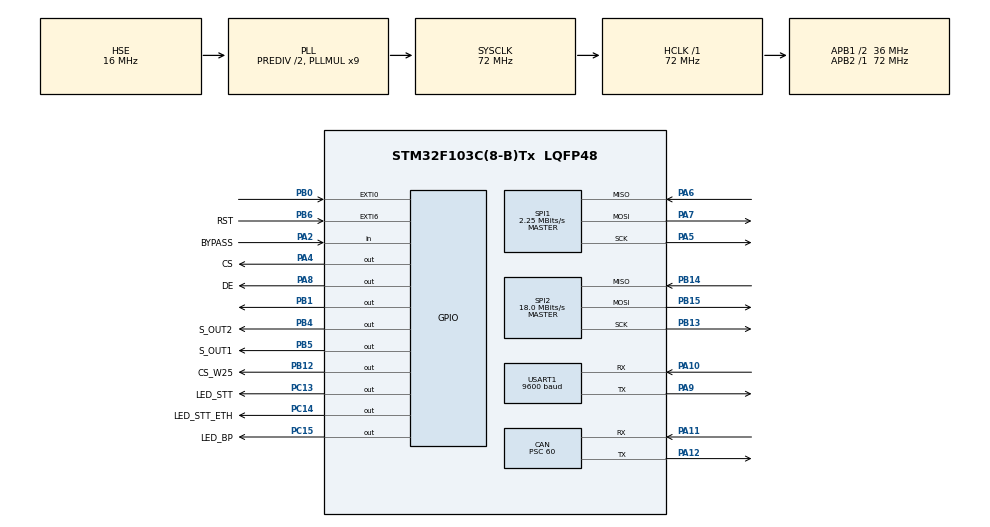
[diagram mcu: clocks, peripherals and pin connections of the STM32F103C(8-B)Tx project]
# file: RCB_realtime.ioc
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CAN.ABOM=ENABLE
CAN.BS1=CAN_BS1_16TQ
CAN.BS2=CAN_BS2_7TQ
CAN.CalculateBaudRate=25000
CAN.CalculateTimeBit=40000
CAN.CalculateTimeQuantum=1666.6666666666667
CAN.Prescaler=60
Dma.Request0=USART1_RX
Dma.USART1_RX.0.Direction=DMA_PERIPH_TO_MEMORY
Dma.USART1_RX.0.Instance=DMA1_Channel5
Dma.USART1_RX.0.MemDataAlignment=DMA_MDATAALIGN_BYTE
Dma.USART1_RX.0.MemInc=DMA_MINC_ENABLE
Dma.USART1_RX.0.Mode=DMA_NORMAL
Dma.USART1_RX.0.PeriphDataAlignment=DMA_PDATAALIGN_BYTE
Dma.USART1_RX.0.PeriphInc=DMA_PINC_DISABLE
Dma.USART1_RX.0.Priority=DMA_PRIORITY_LOW
IWDG.Prescaler=IWDG_PRESCALER_64
IWDG.Reload=1874
Mcu.Family=STM32F1
Mcu.Name=STM32F103C(8-B)Tx
Mcu.Package=LQFP48
NVIC.DMA1_Channel5_IRQn=true\:0\:0\:false\:false\:true\:false\:true\:true
NVIC.EXTI0_IRQn=true\:1\:0\:true\:false\:true\:true\:true\:true
NVIC.EXTI9_5_IRQn=true\:7\:0\:true\:false\:true\:true\:true\:true
NVIC.PriorityGroup=NVIC_PRIORITYGROUP_4
NVIC.TIM2_IRQn=true\:4\:0\:true\:false\:true\:true\:true\:true
NVIC.TIM3_IRQn=true\:5\:0\:true\:false\:true\:true\:true\:true
NVIC.USART1_IRQn=true\:2\:0\:true\:false\:true\:true\:true\:true
NVIC.USB_LP_CAN1_RX0_IRQn=true\:3\:0\:true\:false\:true\:true\:true\:true
PA10.Mode=Asynchronous
PA10.Signal=USART1_RX
PA11.Mode=CAN_Activate
PA11.Signal=CAN_RX
PA12.Mode=CAN_Activate
PA12.Signal=CAN_TX
PA13.Mode=Serial_Wire
PA13.Signal=SYS_JTMS-SWDIO
PA14.Mode=Serial_Wire
PA14.Signal=SYS_JTCK-SWCLK
PA2.GPIO_Label=BYPASS
PA2.GPIO_PuPd=GPIO_PULLUP
PA2.Signal=GPIO_Input
PA4.GPIO_Label=CS
PA4.GPIO_Speed=GPIO_SPEED_FREQ_HIGH
PA4.PinState=GPIO_PIN_SET
PA4.Signal=GPIO_Output
PA5.Mode=Full_Duplex_Master
PA5.Signal=SPI1_SCK
PA6.Mode=Full_Duplex_Master
PA6.Signal=SPI1_MISO
PA7.Mode=Full_Duplex_Master
PA7.Signal=SPI1_MOSI
PA8.GPIO_Label=DE
PA8.Signal=GPIO_Output
PA9.Mode=Asynchronous
PA9.Signal=USART1_TX
PB0.GPIO_ModeDefaultEXTI=GPIO_MODE_IT_FALLING
PB0.GPIO_PuPd=GPIO_NOPULL
PB0.Signal=GPXTI0
PB1.Signal=GPIO_Output
PB12.GPIO_Label=CS_W25
PB12.GPIO_Speed=GPIO_SPEED_FREQ_HIGH
PB12.PinState=GPIO_PIN_SET
PB12.Signal=GPIO_Output
PB13.Mode=Full_Duplex_Master
PB13.Signal=SPI2_SCK
PB14.Mode=Full_Duplex_Master
PB14.Signal=SPI2_MISO
PB15.Mode=Full_Duplex_Master
PB15.Signal=SPI2_MOSI
PB4.GPIO_Label=S_OUT2
PB4.Signal=GPIO_Output
PB5.GPIO_Label=S_OUT1
PB5.Signal=GPIO_Output
PB6.GPIO_Label=RST
PB6.GPIO_ModeDefaultEXTI=GPIO_MODE_IT_FALLING
PB6.GPIO_PuPd=GPIO_PULLUP
PB6.Signal=GPXTI6
PC13-TAMPER-RTC.GPIO_Label=LED_STT
PC13-TAMPER-RTC.Signal=GPIO_Output
PC14-OSC32_IN.GPIO_Label=LED_STT_ETH
PC14-OSC32_IN.Signal=GPIO_Output
PC15-OSC32_OUT.GPIO_Label=LED_BP
PC15-OSC32_OUT.Signal=GPIO_Output
PD0-OSC_IN.Mode=HSE-External-Oscillator
PD0-OSC_IN.Signal=RCC_OSC_IN
PD1-OSC_OUT.Mode=HSE-External-Oscillator
PD1-OSC_OUT.Signal=RCC_OSC_OUT
ProjectManager.HeapSize=0x200
ProjectManager.StackSize=0x400
ProjectManager.TargetToolchain=STM32CubeIDE
RCC.AHBFreq_Value=72000000
RCC.APB1CLKDivider=RCC_HCLK_DIV2
RCC.APB1Freq_Value=36000000
RCC.APB1TimFreq_Value=72000000
RCC.APB2Freq_Value=72000000
RCC.APB2TimFreq_Value=72000000
RCC.HCLKFreq_Value=72000000
RCC.HSEDivPLL=RCC_HSE_PREDIV_DIV2
RCC.HSE_VALUE=16000000
RCC.PLLMUL=RCC_PLL_MUL9
RCC.PLLSourceVirtual=RCC_PLLSOURCE_HSE
RCC.SYSCLKFreq_VALUE=72000000
RCC.SYSCLKSource=RCC_SYSCLKSOURCE_PLLCLK
RCC.USBFreq_Value=72000000
SPI1.BaudRatePrescaler=SPI_BAUDRATEPRESCALER_32
SPI1.CalculateBaudRate=2.25 MBits/s
SPI1.Direction=SPI_DIRECTION_2LINES
SPI1.Mode=SPI_MODE_MASTER
SPI1.VirtualType=VM_MASTER
SPI2.BaudRatePrescaler=SPI_BAUDRATEPRESCALER_2
SPI2.CalculateBaudRate=18.0 MBits/s
SPI2.Direction=SPI_DIRECTION_2LINES
SPI2.Mode=SPI_MODE_MASTER
SPI2.VirtualType=VM_MASTER
TIM2.Period=999
TIM2.Prescaler=36000
TIM3.Period=999
TIM3.Prescaler=36000
USART1.BaudRate=9600
USART1.VirtualMode=VM_ASYNC
USART1.WordLength=WORDLENGTH_8B
VP_IWDG_VS_IWDG.Mode=IWDG_Activate
VP_TIM2_VS_ClockSourceINT.Mode=Internal
VP_TIM3_VS_ClockSourceINT.Mode=Internal
board=custom

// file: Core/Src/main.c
/* USER CODE BEGIN Header */
/**
  ******************************************************************************
  * @file           : main.c
  * @brief          : Main program body
  ******************************************************************************
  * @attention
  *
  * Copyright (c) 2023 STMicroelectronics.
  * All rights reserved.
  *
  * This software is licensed under terms that can be found in the LICENSE file
  * in the root directory of this software component.
  * If no LICENSE file comes with this software, it is provided AS-IS.
  *
  ******************************************************************************
  */
/* USER CODE END Header */
#include "main.h"

/* USER CODE BEGIN Includes */
#include "wizchip_conf.h"
#include "socket.h"
#include "W5500_SPI.h"
#include <stdio.h>
#include <string.h>
#include "stdlib.h"
#include "stdbool.h"
#include "W25Qxx.h"
/* USER CODE END Includes */

/* USER CODE BEGIN PM */

FLASH_EraseInitTypeDef flashRCB, flashTime;
#define SOCK_NUM 0
#define Timeout_online 1000*10
#define Timeout_heartbit 15000
#define Page 256
#define Sector 0x1000 //16*256
#define Block32 0x200000
#define Block63 0x3F0000
/* USER CODE END PM */

CAN_HandleTypeDef hcan;

IWDG_HandleTypeDef hiwdg;

SPI_HandleTypeDef hspi1;
SPI_HandleTypeDef hspi2;

TIM_HandleTypeDef htim2;
TIM_HandleTypeDef htim3;

UART_HandleTypeDef huart1;
DMA_HandleTypeDef hdma_usart1_rx;

/* USER CODE BEGIN PV */
CAN_RxHeaderTypeDef RxHeader;
CAN_TxHeaderTypeDef TxHeader_MC2B;

uint8_t uart_data[50], buf[520], server_ip[4], time_delay, lock_default[8], ip1, ip2, ip3, ip4,
		ip_server1, ip_server2, ip_server3, ip_server4, data_info[30], elevator_mode, uart_bypass = 3,
		data_MC2B[8], c[8], keepalive, Ethernet_received_data[9],
		Ethernet_setting_data[25], Ethernet_read_and_reset_data, counter_start, RxData[8], send_uart,
		dateNow, monthNow, hourNow, minuteNow;
uint16_t port_server, port_client, yearNow;
uint32_t SectorError, wcode, TxMailbox, x_timer[64], number_card, connected, time_break, lenData, number_card_old,
		 lock_default_1, lock_default_2, time_check, heardbit_REB, timeSendDataEth, timeBreak,
		 RST_timer, RST_timer_now, RST_timer_last, count_RST, counter_reset, timeNow, timeBegin, timeEnd;
bool bypass_from_REB, bypass_from_Eth, x[64], Ethernet_connected, isSendDataEth, write_mode_somecard,
	 write_mode, write_done, new_card, send_card_to_pc, send_card_done, new_wcode,
	 REB_connected = true, Ethernet_received, Ethernet_setting, add_card_uart, write_card_by_hand,
	 Ethernet_read_and_reset, RST_set, unlock_fire, send_uart_to_REB, send_uart_to_PC;

// Định nghĩa năm epoch (ví dụ: 1/1/2000 00:00:00)
#define EPOCH_YEAR 2020
// Số ngày trong các tháng (không tính năm nhuận)
static const int days_in_month[] = {31, 28, 31, 30, 31, 30, 31, 31, 30, 31, 30, 31};

//volatile bool ip_assigned = false;
//
//
typedef struct {
	uint8_t ip[4];
	uint16_t port;
	uint8_t ipServer[4];
	uint16_t portServer;
	uint8_t timeDelay;
	uint8_t elevatorType;
	uint32_t lock32F;
	uint32_t lock64F;
	uint16_t year;
	uint8_t month;
	uint8_t date;
	uint8_t hour;
	uint8_t minute;
} rcb_t;
typedef struct {
	uint32_t STT;
	uint32_t cardID;
	uint8_t permis[8];
	uint16_t beginYear;
	uint8_t beginMonth;
	uint8_t beginDate;
	uint8_t beginHour;
	uint8_t beginMinute;
	uint16_t endYear;
	uint8_t endMonth;
	uint8_t endDate;
	uint8_t endHour;
	uint8_t endMinute;
	uint32_t spare;
//	uint32_t time_up;
//	uint32_t time_dow;
} user_info_t;
#pragma pack()

user_info_t user, user_before, compare_user, write_user, send_user;
rcb_t rcb;
/* USER CODE END PV */

void SystemClock_Config(void);
static void MX_GPIO_Init(void);
static void MX_DMA_Init(void);
static void MX_CAN_Init(void);
static void MX_SPI1_Init(void);
static void MX_SPI2_Init(void);
static void MX_USART1_UART_Init(void);
static void MX_TIM3_Init(void);
static void MX_IWDG_Init(void);
static void MX_TIM2_Init(void);
/* USER CODE BEGIN PFP */
void send_u8_eth (char *CMD, uint8_t data);
void sendData_eth (char *CMD, uint32_t data);
void sendData_eth_info (char *CMD, uint8_t *data);
void sendData_uart (char *CMD, uint8_t data);
void sendData_eth_CardID (char *CMD, user_info_t user);
void save_data();
void sendString (char *CMD, char *data);
void save_time();
//void write_sector (uint32_t Start_STT);
user_info_t binary_search(uint32_t Number_card, uint32_t code);
void new_card_update(uint8_t *data, bool *input, uint32_t *input_timer);
void calculate_data_can(bool *input, uint32_t *input_timer, uint8_t *data_can, uint8_t *unlock_fl, uint8_t delay_time, uint8_t *counter_start);
uint8_t reconect_eth(uint8_t sn);
void Set_speed_can(uint8_t speed);
void shift_left_1bit( uint8_t input[8], uint8_t output[8]);
// Hàm kiểm tra năm nhuận
static uint8_t is_leap_year(uint16_t year);
// Hàm tùy chỉnh tương tự mktime
uint32_t mktime(uint16_t year, uint8_t month, uint8_t date, uint8_t hour, uint8_t minute);
/* USER CODE END PFP */

/* USER CODE BEGIN 0 */
void HAL_UARTEx_RxEventCallback(UART_HandleTypeDef *huart, uint16_t Size)
{
	if (huart->Instance == huart1.Instance)
	{
		heardbit_REB = HAL_GetTick(); // Heard bit from REB
		switch (uart_data[0])
		{
		case 0x44: //Data: D
			wcode = uart_data[1]<<24|uart_data[2]<<16|uart_data[3]<<8|uart_data[4];
			if (!write_mode && !write_mode_somecard && !write_card_by_hand)
			{
				sendData_eth("D", wcode);
				isSendDataEth = true;
				timeSendDataEth = HAL_GetTick();
			}
			if (write_card_by_hand)
			{
				new_wcode = true;
			}
			break;
		case 0x43://Comand: C
//			send_uart_to_REB = true;
			if (send_uart_to_REB)
			{
				send_uart_to_REB = false;
				sendData_uart("I", send_uart);
			} else
			{
				sendData_uart("I", uart_bypass);
			}
//			time_send_uart = HAL_GetTick();
			bypass_from_REB = uart_data[4];
			break;
		}
	}
	HAL_UARTEx_ReceiveToIdle_DMA(&huart1, uart_data, 50);
	__HAL_DMA_DISABLE_IT(&hdma_usart1_rx, DMA_IT_HT);
}
void HAL_GPIO_EXTI_Callback(uint16_t GPIO_Pin)
{
	if (GPIO_Pin == RST_Pin)
	{
		HAL_Delay(20);
		if (HAL_GPIO_ReadPin(RST_GPIO_Port, RST_Pin) == 0)
		{
			RST_set = true;
			RST_timer = HAL_GetTick();
			count_RST = 2000;
			while (!HAL_GPIO_ReadPin(RST_GPIO_Port, RST_Pin))
			{
				RST_timer_last = HAL_GetTick() - RST_timer;
//				if ((RST_timer_last > 5000) && (RST_timer_last < 10000))
//				{
//					count_RST = 500;
//				} else
				if (RST_timer_last > 10000)
				{
					count_RST = 100;
				}
				if (HAL_GetTick() - RST_timer_now > count_RST)
				{
					RST_timer_now = HAL_GetTick();
					HAL_GPIO_TogglePin(LED_STT_GPIO_Port, LED_STT_Pin);
				}
				HAL_Delay(10);
			}
		}
	}
}
void HAL_TIM_PeriodElapsedCallback(TIM_HandleTypeDef *htim)
{
	if (htim->Instance == htim2.Instance)
	{
		// calculator data
		if (counter_start < time_delay)
		{
			counter_start++;
		}
		if (write_mode || write_mode_somecard || unlock_fire || bypass_from_Eth || bypass_from_REB || !REB_connected || !HAL_GPIO_ReadPin(BYPASS_GPIO_Port, BYPASS_Pin))
		{
			data_MC2B[0] = 1;
			data_MC2B[1] = 0;
			data_MC2B[2] = 0;
			data_MC2B[3] = 0;
			data_MC2B[4] = 0;
			data_MC2B[5] = 0;
			data_MC2B[6] = 0;
			data_MC2B[7] = 0;
			HAL_GPIO_WritePin(LED_BP_GPIO_Port, LED_BP_Pin, 1);
//			sendData_uart("I", 2);
			uart_bypass = 2;
//			send_uart_to_REB = true;
		} else
		{
			calculate_data_can(x, x_timer, data_MC2B, lock_default, time_delay, &counter_start);
			HAL_GPIO_WritePin(LED_BP_GPIO_Port, LED_BP_Pin, 0);
			uart_bypass = 3;
	//		send_uart_to_REB = true;
		}
		HAL_CAN_AddTxMessage(&hcan, &TxHeader_MC2B, data_MC2B, &TxMailbox);
//		sendData_uart("I", 3);
	}
	if (htim->Instance == htim3.Instance)
	{
		HAL_IWDG_Refresh(&hiwdg);
		if (HAL_GetTick() - timeBreak > 300)
		{
			g_uart_request_exit = 1;
		}
		if (!RST_set)
		{
			HAL_GPIO_TogglePin(LED_STT_GPIO_Port, LED_STT_Pin);
		}
		//test
//		if (HAL_GetTick() > 25000 && test)
//		{
//			test = false;
//			wcode = 0x22222255;
//			isSendDataEth = true;
//			timeSendDataEth = HAL_GetTick();
//		}
	}
}
void HAL_CAN_RxFifo0MsgPendingCallback(CAN_HandleTypeDef *hcan)
{
	if (HAL_CAN_GetRxMessage(hcan, CAN_RX_FIFO0, &RxHeader, RxData) != HAL_OK)
	{
	    Error_Handler();
	}
	if (RxHeader.StdId == 0x740 && RxData[2] == 0x48)
	{
		if ((RxData[4] & 0x40) == 0x40)
		{
			unlock_fire = true;
		} else
		{
			unlock_fire = false;
		}
	}
}
/* USER CODE END 0 */

int main(void)
{

  /* MCU Configuration--------------------------------------------------------*/

  /* Reset of all peripherals, Initializes the Flash interface and the Systick. */
  HAL_Init();

  /* Configure the system clock */
  SystemClock_Config();

  /* USER CODE BEGIN SysInit */
  __HAL_DBGMCU_FREEZE_IWDG();
  /* USER CODE END SysInit */

  /* Initialize all configured peripherals */
  MX_GPIO_Init();
  MX_DMA_Init();
  MX_CAN_Init();
  MX_SPI1_Init();
  MX_SPI2_Init();
  MX_USART1_UART_Init();
  MX_TIM3_Init();
  MX_IWDG_Init();
  MX_TIM2_Init();
  /* USER CODE BEGIN 2 */
  HAL_TIM_Base_Start_IT(&htim3);
  HAL_UARTEx_ReceiveToIdle_DMA(&huart1, uart_data, 50);
  __HAL_DMA_DISABLE_IT(&hdma_usart1_rx, DMA_IT_HT);
  TxHeader_MC2B.DLC = 8;
  TxHeader_MC2B.ExtId = 0x47FF;
  TxHeader_MC2B.IDE = CAN_ID_EXT;
  TxHeader_MC2B.RTR = CAN_RTR_DATA;
  TxHeader_MC2B.StdId = 0;
  TxHeader_MC2B.TransmitGlobalTime = DISABLE;

  flashRCB.TypeErase = FLASH_TYPEERASE_PAGES;
  flashRCB.Banks = FLASH_BANK_1;
  flashRCB.PageAddress =  0x0800FC00;
  flashRCB.NbPages = 1;
  flashTime.TypeErase = FLASH_TYPEERASE_PAGES;
  flashTime.Banks = FLASH_BANK_1;
  flashTime.PageAddress =  0x0800F800;
  flashTime.NbPages = 1;
  ip1 = *(uint32_t *)(0x0800FC00);
  ip2 = *(uint32_t *)(0x0800FC04);
  ip3 = *(uint32_t *)(0x0800FC08);
  ip4 = *(uint32_t *)(0x0800FC0C);
  port_client = *(uint32_t *)(0x0800FC10);
  ip_server1 = *(uint32_t *)(0x0800FC14);
  ip_server2 = *(uint32_t *)(0x0800FC18);
  ip_server3 = *(uint32_t *)(0x0800FC1C);
  ip_server4 = *(uint32_t *)(0x0800FC20);
  port_server = *(uint32_t *)(0x0800FC24);
  time_delay = *(uint32_t *)(0x0800FC28);
  elevator_mode = *(uint32_t *)(0x0800FC2C);
  lock_default_1 = *(uint32_t *)(0x0800FC30);
  lock_default_2 = *(uint32_t *)(0x0800FC34);
  dateNow = *(uint32_t *)(0x0800F800);
  monthNow = *(uint32_t *)(0x0800F804);
  yearNow = *(uint32_t *)(0x0800F808);
  hourNow = *(uint32_t *)(0x0800F80C);
  minuteNow = *(uint32_t *)(0x0800F810);
  if (ip1 == 0xFF) ip1 = 192;
  if (ip2 == 0xFF) ip2 = 168;
  if (ip3 == 0xFF) ip3 = 0;
  if (ip4 == 0xFF) ip4 = 72;
  if (port_client == 0xFFFF) port_client = 0;
  if (ip_server1 == 0xFF) ip_server1 = 192;
  if (ip_server2 == 0xFF) ip_server2 = 168;
  if (ip_server3 == 0xFF) ip_server3 = 0;
  if (ip_server4 == 0xFF) ip_server4 = 2;
  if (port_server == 0xFFFF) port_server = 6000;
  if (time_delay == 0xFF) time_delay = 1;
  if (elevator_mode == 0xFF) elevator_mode = 0;
//  if (lock_default_1 == 0xFFFFFFFF) lock_default_1 = 0;
//  if (lock_default_2 == 0xFFFFFFFF) lock_default_2 = 0;
  lock_default[0] = lock_default_1 & 0xFF;
  lock_default[1] = (lock_default_1>>8) & 0xFF;
  lock_default[2] = (lock_default_1>>16) & 0xFF;
  lock_default[3] = (lock_default_1>>24) & 0xFF;
  lock_default[4] = lock_default_2 & 0xFF;
  lock_default[5] = (lock_default_2>>8) & 0xFF;
  lock_default[6] = (lock_default_2>>16) & 0xFF;
  lock_default[7] = (lock_default_2>>24) & 0xFF;
  server_ip[0] = ip_server1;
  server_ip[1] = ip_server2;
  server_ip[2] = ip_server3;
  server_ip[3] = ip_server4;

  W25Q_Reset();
//  W25Q_EraseChip();
  while(user.STT!=0xFFFFFFFF)
  {
	  W25Q_FastRead_address(number_card*sizeof(user_info_t), sizeof(user_info_t), (uint8_t *)&user);
	  if (user.STT -1 == number_card)
	  {
		  number_card = user.STT;
	  }
  }
  while(user_before.STT!=0xFFFFFFFF)
  {
	  W25Q_FastRead_address(number_card_old*sizeof(user_info_t) + Block32, sizeof(user_info_t), (uint8_t *)&user_before);
	  if (user_before.STT -1 == number_card_old)
	  {
		  number_card_old = user_before.STT;
	  }
  }
  if (number_card_old > 0)
  {
	  for (uint32_t i=0; i<(number_card_old*sizeof(user_info_t)/Sector +2); i++)
	  {
		  W25Q_Erase_Sector(i + Block32/0x1000);
	  }
  }
  wiz_NetInfo gWIZNETINFO = {
  		  .mac = {0x00, 0x1c, 0x16, (HAL_GetUIDw0()^ip4)&0xFF, (HAL_GetUIDw1()^ip4)&0xFF, (HAL_GetUIDw2()^ip4)&0xFF},
  		  .ip = {ip1,ip2,ip3,ip4},
  		  .sn = {255, 255, 255, 0},
  		  .gw = {192, 168, 0, 1},
  		  .dns = {168, 126, 63, 1},
  		  .dhcp = NETINFO_STATIC};
  W5500Init();
  HAL_Delay(2000);
  wizchip_setnetinfo(&gWIZNETINFO);
//  socket(SOCK_NUM, Sn_MR_TCP, port_client, SF_TCP_NODELAY);
//  connect(SOCK_NUM, server_ip, port_server);
  Set_speed_can(elevator_mode);
  HAL_TIM_Base_Start_IT(&htim2);
  /* USER CODE END 2 */

  /* Infinite loop */
  while (1)
  {

    /* USER CODE BEGIN 3 */
	  lenData = getSn_RX_RSR(SOCK_NUM);
	  if (getSn_RX_RSR(SOCK_NUM) == lenData)
	  {
		  if (lenData > 512)
		  {
			  save_time();
			  HAL_NVIC_SystemReset();
		  }
		  if (lenData > 0)
		  {
			  recv(SOCK_NUM, buf, lenData);
			  switch (buf[0])
			  {
			  case 0x48:
				  connected = HAL_GetTick();
				  yearNow = (buf[3]<<8) | buf[4];
				  monthNow = buf[2];
				  hourNow = buf[5];
				  minuteNow = buf[6];
				  if (buf[1] != dateNow)
				  {
					  dateNow = buf[1];
					  save_time();
				  } else
				  {
					  dateNow = buf[1];
				  }
				  break;
			  case 0x44://data: D
				  Ethernet_received = true;
				  for (uint8_t i =0; i<9; i++)
				  {
					  Ethernet_received_data[i] = buf[i+1];
				  }
				  break;
			  case 0x53://setting: S
				  Ethernet_setting = true;
				  for (uint8_t i =0; i<23; i++)
				  {
					  Ethernet_setting_data[i] = buf[i+1];
				  }
				  break;
			  case 0x52:// reset board R: 0; read data: 1
				  if (buf[1] == 2)
				  {
					  send_card_to_pc = true;
					  time_break = HAL_GetTick();
				  } else if (buf[1] == 3)
				  {
					  send_card_done = true;
					  time_break = HAL_GetTick();
				  } else
				  {
					  Ethernet_read_and_reset = true;
					  Ethernet_read_and_reset_data = buf[1];
				  }
				  break;
			  case 0x57: // W
				  switch (buf[1])
				  {
				  case 0x5A:// E: errase
					  W25Q_EraseChip();
					  break;
				  case 0x45:// E: errase
					  write_mode = true;
					  time_break = HAL_GetTick();
					  break;
				  case 0x41:// A: add card
					  write_mode_somecard = true;
					  time_break = HAL_GetTick();
					  break;
				  case 0x48:// H: add card by hand
					  write_card_by_hand = true;
					  time_break = HAL_GetTick();
					  break;
				  }
				  break;
			  }
		  }
	  } else
	  {
		  continue;
	  }

	  if (HAL_CAN_GetTxMailboxesFreeLevel(&hcan) == 0)
	  {
		  if (HAL_CAN_AbortTxRequest(&hcan, TxMailbox) != HAL_OK)
		  {
			  save_time();
			  HAL_NVIC_SystemReset();
		  }
	  }

	  // check connection Ethernet
	  if (keepalive == SOCK_ESTABLISHED && (abs(HAL_GetTick() - connected) < Timeout_heartbit))
	  {
		  Ethernet_connected = true;
	  } else
	  {
		  Ethernet_connected = false;// false
	  }
	  // check connection REB
	  if (abs(HAL_GetTick() - heardbit_REB) > Timeout_heartbit)
	  {
		  REB_connected = false;// false
	  } else
	  {
		  REB_connected = true;
	  }
	  //// received data from Ethernet
	  if (Ethernet_received)// 0x44
	  {
		  Ethernet_received = false;
		  switch (Ethernet_received_data[0])
		  {
		  case 0:
			  send_uart = 0;
			  send_uart_to_REB = true;
			  isSendDataEth = false;
			  break;
		  case 1: // data ok
			  new_card_update(&Ethernet_received_data[1], x, x_timer);
			  send_uart = 1;
			  send_uart_to_REB = true;
			  isSendDataEth = false;
			  break;
		  }
	  }

	  // Nếu không nhận được Data từ server sau khi gửi mã thẻ, thì xử lý offline

	  if (isSendDataEth)
	  {
		  if (!Ethernet_connected || ((HAL_GetTick() - timeSendDataEth) > 500))
		  {
			  isSendDataEth = false;
			  compare_user = binary_search(number_card, wcode);
			  if (compare_user.STT > 0 && compare_user.STT <= number_card)
			  {
				  timeNow = mktime(yearNow, monthNow, dateNow, hourNow, minuteNow);
				  timeBegin = mktime(compare_user.beginYear, compare_user.beginMonth, compare_user.beginDate, compare_user.beginHour, compare_user.beginMinute);
				  timeEnd = mktime(compare_user.endYear, compare_user.endMonth, compare_user.endDate, compare_user.endHour, compare_user.endMinute);
				  if ((timeBegin <= timeNow) && (timeNow <= timeEnd))
				  {
					  new_card_update(compare_user.permis, x, x_timer);
					  send_uart = 1;
					  send_uart_to_REB = true;
				  } else
				  {
					  send_uart = 0;
					  send_uart_to_REB = true;
				  }
			  } else
			  {
				  send_uart = 0;
				  send_uart_to_REB = true;
			  }
		  }
	  }
	  //// setting from PC Ethernet
	  if (Ethernet_setting) // 0x53
	  {
		  Ethernet_setting = false;
		  switch (Ethernet_setting_data[0])
		  {
		  case 0:// setting board
			  ip1 = Ethernet_setting_data[1];
			  ip2 = Ethernet_setting_data[2];
			  ip3 = Ethernet_setting_data[3];
			  ip4 = Ethernet_setting_data[4];
			  port_client = Ethernet_setting_data[5]<<8|Ethernet_setting_data[6];
			  ip_server1 = Ethernet_setting_data[7];
			  ip_server2 = Ethernet_setting_data[8];
			  ip_server3 = Ethernet_setting_data[9];
			  ip_server4 = Ethernet_setting_data[10];
			  port_server = Ethernet_setting_data[11]<<8|Ethernet_setting_data[12];
			  time_delay = Ethernet_setting_data[13];
			  elevator_mode = Ethernet_setting_data[14];
			  lock_default_1 = Ethernet_setting_data[15]|(Ethernet_setting_data[16]<<8)|(Ethernet_setting_data[17]<<16)|(Ethernet_setting_data[18]<<24);
			  lock_default_2 = Ethernet_setting_data[19]|(Ethernet_setting_data[20]<<8)|(Ethernet_setting_data[21]<<16)|(Ethernet_setting_data[22]<<24);
			  save_data();
			  save_time();
			  sendString("S", "OK");
			  HAL_NVIC_SystemReset();
			  break;
		  case 1:// bypass mode
			  bypass_from_Eth = Ethernet_setting_data[1];
			  break;
		  }
	  }
	  /// reset or conmand read data from PC
	  if (Ethernet_read_and_reset)// 0x52
	  {
		  Ethernet_read_and_reset = false;
		  switch (Ethernet_read_and_reset_data)
		  {
		  case 0:
			  save_time();
			  HAL_NVIC_SystemReset();
			  break;
		  case 1:
			  data_info[0] = ip1;
			  data_info[1] = ip2;
			  data_info[2] = ip3;
			  data_info[3] = ip4;
			  data_info[4] = port_client>>8;
			  data_info[5] = port_client & 0xFF;
			  data_info[6] = ip_server1;
			  data_info[7] = ip_server2;
			  data_info[8] = ip_server3;
			  data_info[9] = ip_server4;
			  data_info[10] = port_server>>8;
			  data_info[11] = port_server & 0xFF;
			  data_info[12] = time_delay;
			  data_info[13] = elevator_mode;
			  data_info[14] = number_card>>24&0xFF;
			  data_info[15] = number_card>>16&0xFF;
			  data_info[16] = number_card>>8&0xFF;
			  data_info[17] = number_card&0xFF;
			  data_info[18] = lock_default[0];
			  data_info[19] = lock_default[1];
			  data_info[20] = lock_default[2];
			  data_info[21] = lock_default[3];
			  data_info[22] = lock_default[4];
			  data_info[23] = lock_default[5];
			  data_info[24] = lock_default[6];
			  data_info[25] = lock_default[7];
			  sendData_eth_info("R", data_info);
			  break;
		  }
	  }
	  //// send data to PC, to keep alive connection
	  if (!add_card_uart && (abs(HAL_GetTick() - time_check) > 5000))
	  {
		  keepalive = reconect_eth(SOCK_NUM);
		  if (keepalive == SOCK_ESTABLISHED)
		  {
			  c[0] = 0x48;
			  if (unlock_fire)
			  {
				  c[1] = 0x46;//F
			  } else if (bypass_from_Eth)
			  {
				  c[1] = 0x50;//P
			  } else if (bypass_from_REB)
			  {
				  c[1] = 0x45;//E
			  } else if (!REB_connected)
			  {
				  c[1] = 0x44;//D
			  } else if (!HAL_GPIO_ReadPin(BYPASS_GPIO_Port, BYPASS_Pin))
			  {
				  c[1] = 0x43;//C
			  } else if (!Ethernet_connected)
			  {
				  c[1] = 0x4F;//o
			  } else
			  {
				  c[1] = 0x52;//r
			  }
			  c[2] = dateNow;
			  c[3] = monthNow;
			  c[4] = yearNow>>8;
			  c[5] = yearNow&0xFF;
			  c[6] = hourNow;
			  c[7] = minuteNow;
			  send(SOCK_NUM, c, 8);
		  }
	  }

	  while (send_card_to_pc)
	  {
		  HAL_Delay(500);
		  for (uint32_t i=0; i< number_card; i++)
		  {
			  W25Q_FastRead_address(i*sizeof(user_info_t), sizeof(user_info_t), (uint8_t *)&send_user);
			  sendData_eth_CardID ("X", send_user);
			  HAL_Delay(100);
		  }
		  send_u8_eth("X", 1);
		  send_card_to_pc = false;
	  }
	  while (write_mode)
	  {
		  HAL_Delay(1000);
		  uint32_t totalCard = 0;
		  sendString("W", "EOK");
		  time_break = HAL_GetTick();
		  bypass_from_Eth = true;
		  while (1)
		  {
			  lenData = getSn_RX_RSR(SOCK_NUM);
			  if (getSn_RX_RSR(SOCK_NUM) == lenData)
			  {
				  if (lenData > 500)
				  {
					  save_time();
					  HAL_NVIC_SystemReset();
				  }
				  if (!add_card_uart && (lenData > 0))
				  {
					  recv(SOCK_NUM, buf, lenData);
					  if (buf[0] == 0x57)
					  {
						  if (buf[1] == 0x44)
						  {
							  totalCard++;
							  write_user.STT = totalCard;
							  write_user.cardID =  buf[2]<<24|buf[3]<<16|buf[4]<<8|buf[5];
							  write_user.permis[0] = buf[6];
							  write_user.permis[1] = buf[7];
							  write_user.permis[2] = buf[8];
							  write_user.permis[3] = buf[9];
							  write_user.permis[4] = buf[10];
							  write_user.permis[5] = buf[11];
							  write_user.permis[6] = buf[12];
							  write_user.permis[7] = buf[13];
							  write_user.beginDate = buf[14];
							  write_user.beginMonth = buf[15];
							  write_user.beginYear = buf[16]<<8 | buf[17];
							  write_user.beginHour = buf[18];
							  write_user.beginMinute = buf[19];
							  write_user.endDate = buf[20];
							  write_user.endMonth = buf[21];
							  write_user.endYear = buf[22]<<8 | buf[23];
							  write_user.endHour = buf[24];
							  write_user.endMinute = buf[25];
							  W25Q_Write_Nbytes((totalCard-1)*sizeof(user_info_t) + Block32, (uint8_t *)&write_user, sizeof(user_info_t));
							  sendString("W", "DOK");
							  time_break = HAL_GetTick();
						  } else if (buf[1] == 0x43)
						  {
							  write_done = true;
						  }
					  }
				  }
			  } else
			  {
				  continue;
			  }
			  while (write_done)
			  {
				  for (uint8_t i=0; i<(number_card)*sizeof(user_info_t)/Sector+1; i++)
				  {
					  W25Q_Erase_Sector(i);
				  }
				  for (uint32_t i = 0; i<totalCard; i++)
				  {
					  W25Q_FastRead_address(i*sizeof(user_info_t)+ Block32, sizeof(user_info_t), (uint8_t *)&send_user);
					  W25Q_Write_Nbytes(i*sizeof(user_info_t), (uint8_t *)&send_user, sizeof(user_info_t));
				  }
				  for (uint32_t i=0; i<((totalCard*sizeof(user_info_t)/Sector)+1); i++)
				  {
					  W25Q_Erase_Sector(i + Block32/0x1000);
				  }
				  sendString("W", "COK");
				  save_time();
				  HAL_NVIC_SystemReset();
			  }

			  if ((abs(HAL_GetTick() - time_break) > Timeout_online))
			  {
				  save_time();
				  HAL_NVIC_SystemReset();
			  }
		  }
	  }
	  while (write_mode_somecard)
	  {
		  HAL_Delay(1000);
		  uint32_t add_card = 0;
		  sendString("W", "AOK");
		  time_break = HAL_GetTick();
		  bypass_from_Eth = true;
		  while (1)
		  {
			  lenData = getSn_RX_RSR(SOCK_NUM);
			  if (getSn_RX_RSR(SOCK_NUM) == lenData)
			  {
				  if (lenData > 512)
				  {
					  save_time();
					  HAL_NVIC_SystemReset();
				  }
				  if (!add_card_uart && (lenData > 0))
				  {
					  recv(SOCK_NUM, buf, lenData);
					  if (buf[0] == 0x57)
					  {
						  if (buf[1] == 0x44)
						  {
							  add_card++;
							  write_user.STT++;
							  write_user.cardID =  buf[2]<<24|buf[3]<<16|buf[4]<<8|buf[5];
							  write_user.permis[0] = buf[6];
							  write_user.permis[1] = buf[7];
							  write_user.permis[2] = buf[8];
							  write_user.permis[3] = buf[9];
							  write_user.permis[4] = buf[10];
							  write_user.permis[5] = buf[11];
							  write_user.permis[6] = buf[12];
							  write_user.permis[7] = buf[13];
							  write_user.beginDate = buf[14];
							  write_user.beginMonth = buf[15];
							  write_user.beginYear = buf[16]<<8 | buf[17];
							  write_user.beginHour = buf[18];
							  write_user.beginMinute = buf[19];
							  write_user.endDate = buf[20];
							  write_user.endMonth = buf[21];
							  write_user.endYear = buf[22]<<8 | buf[23];
							  write_user.endHour = buf[24];
							  write_user.endMinute = buf[25];
							  W25Q_Write_Nbytes((add_card-1)*sizeof(user_info_t) + Block63, (uint8_t *)&write_user, sizeof(user_info_t));
							  sendString("W", "DOK");
							  time_break = HAL_GetTick();
						  } else if (buf[1] == 0x43)
						  {
							  write_done = true;
						  }
					  }
				  }
			  } else
			  {
				  continue;
			  }
			  while (write_done)
			  {
				  // ghi các thẻ hiện tại vào bộ nhớ đệm từ Block 33
				  for (uint32_t i = 0; i<number_card; i++)
				  {
					  W25Q_FastRead_address(i*sizeof(user_info_t), sizeof(user_info_t), (uint8_t *)&send_user);
					  W25Q_Write_Nbytes(i*sizeof(user_info_t) + Block32, (uint8_t *)&send_user, sizeof(user_info_t));
				  }
				  // xóa bộ nhớ ban đầu
				  for (uint8_t i=0; i<(number_card*sizeof(user_info_t)/Sector+1); i++)
				  {
					  W25Q_Erase_Sector(i);
				  }
				  uint32_t i = 0, j = 0, k = 0;
				  user_info_t old_user, new_user;

				  while (i < number_card && j < add_card)
				  {
					  W25Q_FastRead_address(i*sizeof(user_info_t) + Block32, sizeof(user_info_t), (uint8_t *)&old_user);
					  W25Q_FastRead_address(j*sizeof(user_info_t) + Block63, sizeof(user_info_t), (uint8_t *)&new_user);
					  if (old_user.cardID < new_user.cardID)
					  {
						  old_user.STT = k + 1;
						  W25Q_Write_Nbytes(k*sizeof(user_info_t), (uint8_t *)&old_user, sizeof(user_info_t));
						  i++; // Dịch chỉ số của mảng đã lấy
						  k++;
					  } else if (old_user.cardID > new_user.cardID)
					  {
						  new_user.STT = k + 1;
						  W25Q_Write_Nbytes(k*sizeof(user_info_t), (uint8_t *)&new_user, sizeof(user_info_t));
						  j++; // Dịch chỉ số của mảng đã lấy
						  k++;
					  } else if (old_user.cardID == new_user.cardID)
					  {
						  new_user.STT = k + 1;
						  W25Q_Write_Nbytes(k*sizeof(user_info_t), (uint8_t *)&new_user, sizeof(user_info_t));
						  j++; // Dịch chỉ số của mảng đã lấy
						  i++;
						  k++;
					  }
				  }
				  while (i < number_card)
				  {
					  W25Q_FastRead_address(i*sizeof(user_info_t) + Block32, sizeof(user_info_t), (uint8_t *)&old_user);
					  old_user.STT = k + 1;
					  W25Q_Write_Nbytes(k*sizeof(user_info_t), (uint8_t *)&old_user, sizeof(user_info_t));
					  i++;
					  k++;
				  }
				  while (j < add_card)
				  {
					  W25Q_FastRead_address(j*sizeof(user_info_t) + Block63, sizeof(user_info_t), (uint8_t *)&new_user);
					  new_user.STT = k + 1;
					  W25Q_Write_Nbytes(k*sizeof(user_info_t), (uint8_t *)&new_user, sizeof(user_info_t));
					  j++;
					  k++;
				  }
				  for (uint32_t i=0; i<((number_card*sizeof(user_info_t)/Sector)+1); i++)
				  {
					  W25Q_Erase_Sector(i + Block32/0x1000);
				  }
				  for (uint32_t i=0; i<((add_card*sizeof(user_info_t)/Sector)+1); i++)
				  {
					  W25Q_Erase_Sector(i + Block63/0x1000);
				  }
				  sendString("W", "COK");
				  save_time();
				  HAL_NVIC_SystemReset();
			  }

			  if (abs(HAL_GetTick() - time_break) > Timeout_online)
			  {
				  save_time();
				  HAL_NVIC_SystemReset();
			  }
		  }
	  }
	  while (write_card_by_hand)
	  {
		  sendString("W", "HOK");
		  time_break = HAL_GetTick();
		  bypass_from_Eth = true;
		  while (1)
		  {
			  lenData = getSn_RX_RSR(SOCK_NUM);
			  if (getSn_RX_RSR(SOCK_NUM) == lenData)
			  {
				  if (lenData > 512)
				  {
					  save_time();
					  HAL_NVIC_SystemReset();
				  }
				  if (lenData > 0)
				  {
					  recv(SOCK_NUM, buf, lenData);
					  if (buf[0] == 0x57)
					  {
						  if (buf[1] == 0x43)
						  {
							  save_time();
							  HAL_NVIC_SystemReset();
						  }
					  }
				  }
			  }
			  if (new_wcode)
			  {
				  new_wcode = false;
				  sendData_eth("H", wcode);
				  time_break = HAL_GetTick();
			  }
			  if (abs(HAL_GetTick() - time_break) > Timeout_online)
			  {
				  save_time();
				  HAL_NVIC_SystemReset();
			  }
		  }
	  }
	  if (RST_set)
	  {
		  if (RST_timer_last > 10000)
		  {
			  ip1 = 192;
			  ip2 = 168;
			  ip3 = 0;
			  ip4 = 72;
			  ip_server1 = 192;
			  ip_server2 = 168;
			  ip_server3 = 0;
			  ip_server4 = 2;
			  port_server = 6000;
			  port_client = 0;
			  time_delay = 1;
			  elevator_mode = 0;
			  W25Q_EraseChip();
			  save_data();
			  save_time();
		  }
		  HAL_NVIC_SystemReset();
	  }
	  if (counter_reset == 700)
	  {
		  save_time();
		  HAL_NVIC_SystemReset();
	  }
	  HAL_Delay(10);
  }
  /* USER CODE END 3 */
}

void SystemClock_Config(void)
{
  RCC_OscInitTypeDef RCC_OscInitStruct = {0};
  RCC_ClkInitTypeDef RCC_ClkInitStruct = {0};

  /** Initializes the RCC Oscillators according to the specified parameters
  * in the RCC_OscInitTypeDef structure.
  */
  RCC_OscInitStruct.OscillatorType = RCC_OSCILLATORTYPE_LSI|RCC_OSCILLATORTYPE_HSE;
  RCC_OscInitStruct.HSEState = RCC_HSE_ON;
  RCC_OscInitStruct.HSEPredivValue = RCC_HSE_PREDIV_DIV2;
  RCC_OscInitStruct.HSIState = RCC_HSI_ON;
  RCC_OscInitStruct.LSIState = RCC_LSI_ON;
  RCC_OscInitStruct.PLL.PLLState = RCC_PLL_ON;
  RCC_OscInitStruct.PLL.PLLSource = RCC_PLLSOURCE_HSE;
  RCC_OscInitStruct.PLL.PLLMUL = RCC_PLL_MUL9;
  if (HAL_RCC_OscConfig(&RCC_OscInitStruct) != HAL_OK)
  {
    Error_Handler();
  }

  /** Initializes the CPU, AHB and APB buses clocks
  */
  RCC_ClkInitStruct.ClockType = RCC_CLOCKTYPE_HCLK|RCC_CLOCKTYPE_SYSCLK
                              |RCC_CLOCKTYPE_PCLK1|RCC_CLOCKTYPE_PCLK2;
  RCC_ClkInitStruct.SYSCLKSource = RCC_SYSCLKSOURCE_PLLCLK;
  RCC_ClkInitStruct.AHBCLKDivider = RCC_SYSCLK_DIV1;
  RCC_ClkInitStruct.APB1CLKDivider = RCC_HCLK_DIV2;
  RCC_ClkInitStruct.APB2CLKDivider = RCC_HCLK_DIV1;

  if (HAL_RCC_ClockConfig(&RCC_ClkInitStruct, FLASH_LATENCY_2) != HAL_OK)
  {
    Error_Handler();
  }
}

static void MX_CAN_Init(void)
{

  hcan.Instance = CAN1;
  hcan.Init.Prescaler = 60;
  hcan.Init.Mode = CAN_MODE_NORMAL;
  hcan.Init.SyncJumpWidth = CAN_SJW_1TQ;
  hcan.Init.TimeSeg1 = CAN_BS1_16TQ;
  hcan.Init.TimeSeg2 = CAN_BS2_7TQ;
  hcan.Init.TimeTriggeredMode = DISABLE;
  hcan.Init.AutoBusOff = ENABLE;
  hcan.Init.AutoWakeUp = DISABLE;
  hcan.Init.AutoRetransmission = DISABLE;
  hcan.Init.ReceiveFifoLocked = DISABLE;
  hcan.Init.TransmitFifoPriority = DISABLE;
  if (HAL_CAN_Init(&hcan) != HAL_OK)
  {
    Error_Handler();
  }

}

static void MX_IWDG_Init(void)
{

  hiwdg.Instance = IWDG;
  hiwdg.Init.Prescaler = IWDG_PRESCALER_64;
  hiwdg.Init.Reload = 1874;
  if (HAL_IWDG_Init(&hiwdg) != HAL_OK)
  {
    Error_Handler();
  }

}

static void MX_SPI1_Init(void)
{

  /* SPI1 parameter configuration*/
  hspi1.Instance = SPI1;
  hspi1.Init.Mode = SPI_MODE_MASTER;
  hspi1.Init.Direction = SPI_DIRECTION_2LINES;
  hspi1.Init.DataSize = SPI_DATASIZE_8BIT;
  hspi1.Init.CLKPolarity = SPI_POLARITY_LOW;
  hspi1.Init.CLKPhase = SPI_PHASE_1EDGE;
  hspi1.Init.NSS = SPI_NSS_SOFT;
  hspi1.Init.BaudRatePrescaler = SPI_BAUDRATEPRESCALER_32;
  hspi1.Init.FirstBit = SPI_FIRSTBIT_MSB;
  hspi1.Init.TIMode = SPI_TIMODE_DISABLE;
  hspi1.Init.CRCCalculation = SPI_CRCCALCULATION_DISABLE;
  hspi1.Init.CRCPolynomial = 10;
  if (HAL_SPI_Init(&hspi1) != HAL_OK)
  {
    Error_Handler();
  }

}

static void MX_SPI2_Init(void)
{

  /* SPI2 parameter configuration*/
  hspi2.Instance = SPI2;
  hspi2.Init.Mode = SPI_MODE_MASTER;
  hspi2.Init.Direction = SPI_DIRECTION_2LINES;
  hspi2.Init.DataSize = SPI_DATASIZE_8BIT;
  hspi2.Init.CLKPolarity = SPI_POLARITY_LOW;
  hspi2.Init.CLKPhase = SPI_PHASE_1EDGE;
  hspi2.Init.NSS = SPI_NSS_SOFT;
  hspi2.Init.BaudRatePrescaler = SPI_BAUDRATEPRESCALER_2;
  hspi2.Init.FirstBit = SPI_FIRSTBIT_MSB;
  hspi2.Init.TIMode = SPI_TIMODE_DISABLE;
  hspi2.Init.CRCCalculation = SPI_CRCCALCULATION_DISABLE;
  hspi2.Init.CRCPolynomial = 10;
  if (HAL_SPI_Init(&hspi2) != HAL_OK)
  {
    Error_Handler();
  }

}

static void MX_TIM2_Init(void)
{

  TIM_ClockConfigTypeDef sClockSourceConfig = {0};
  TIM_MasterConfigTypeDef sMasterConfig = {0};

  htim2.Instance = TIM2;
  htim2.Init.Prescaler = 36000;
  htim2.Init.CounterMode = TIM_COUNTERMODE_UP;
  htim2.Init.Period = 999;
  htim2.Init.ClockDivision = TIM_CLOCKDIVISION_DIV1;
  htim2.Init.AutoReloadPreload = TIM_AUTORELOAD_PRELOAD_DISABLE;
  if (HAL_TIM_Base_Init(&htim2) != HAL_OK)
  {
    Error_Handler();
  }
  sClockSourceConfig.ClockSource = TIM_CLOCKSOURCE_INTERNAL;
  if (HAL_TIM_ConfigClockSource(&htim2, &sClockSourceConfig) != HAL_OK)
  {
    Error_Handler();
  }
  sMasterConfig.MasterOutputTrigger = TIM_TRGO_RESET;
  sMasterConfig.MasterSlaveMode = TIM_MASTERSLAVEMODE_DISABLE;
  if (HAL_TIMEx_MasterConfigSynchronization(&htim2, &sMasterConfig) != HAL_OK)
  {
    Error_Handler();
  }

}

static void MX_TIM3_Init(void)
{

  TIM_ClockConfigTypeDef sClockSourceConfig = {0};
  TIM_MasterConfigTypeDef sMasterConfig = {0};

  htim3.Instance = TIM3;
  htim3.Init.Prescaler = 36000;
  htim3.Init.CounterMode = TIM_COUNTERMODE_UP;
  htim3.Init.Period = 999;
  htim3.Init.ClockDivision = TIM_CLOCKDIVISION_DIV1;
  htim3.Init.AutoReloadPreload = TIM_AUTORELOAD_PRELOAD_DISABLE;
  if (HAL_TIM_Base_Init(&htim3) != HAL_OK)
  {
    Error_Handler();
  }
  sClockSourceConfig.ClockSource = TIM_CLOCKSOURCE_INTERNAL;
  if (HAL_TIM_ConfigClockSource(&htim3, &sClockSourceConfig) != HAL_OK)
  {
    Error_Handler();
  }
  sMasterConfig.MasterOutputTrigger = TIM_TRGO_RESET;
  sMasterConfig.MasterSlaveMode = TIM_MASTERSLAVEMODE_DISABLE;
  if (HAL_TIMEx_MasterConfigSynchronization(&htim3, &sMasterConfig) != HAL_OK)
  {
    Error_Handler();
  }

}

static void MX_USART1_UART_Init(void)
{

  huart1.Instance = USART1;
  huart1.Init.BaudRate = 9600;
  huart1.Init.WordLength = UART_WORDLENGTH_8B;
  huart1.Init.StopBits = UART_STOPBITS_1;
  huart1.Init.Parity = UART_PARITY_NONE;
  huart1.Init.Mode = UART_MODE_TX_RX;
  huart1.Init.HwFlowCtl = UART_HWCONTROL_NONE;
  huart1.Init.OverSampling = UART_OVERSAMPLING_16;
  if (HAL_UART_Init(&huart1) != HAL_OK)
  {
    Error_Handler();
  }

}

static void MX_DMA_Init(void)
{

  /* DMA controller clock enable */
  __HAL_RCC_DMA1_CLK_ENABLE();

  /* DMA interrupt init */
  /* DMA1_Channel5_IRQn interrupt configuration */
  HAL_NVIC_SetPriority(DMA1_Channel5_IRQn, 0, 0);
  HAL_NVIC_EnableIRQ(DMA1_Channel5_IRQn);

}

static void MX_GPIO_Init(void)
{
  GPIO_InitTypeDef GPIO_InitStruct = {0};

  /* GPIO Ports Clock Enable */
  __HAL_RCC_GPIOC_CLK_ENABLE();
  __HAL_RCC_GPIOD_CLK_ENABLE();
  __HAL_RCC_GPIOA_CLK_ENABLE();
  __HAL_RCC_GPIOB_CLK_ENABLE();

  /*Configure GPIO pin Output Level */
  HAL_GPIO_WritePin(GPIOC, LED_STT_Pin|LED_STT_ETH_Pin|LED_BP_Pin, GPIO_PIN_RESET);

  /*Configure GPIO pin Output Level */
  HAL_GPIO_WritePin(CS_GPIO_Port, CS_Pin, GPIO_PIN_SET);

  /*Configure GPIO pin Output Level */
  HAL_GPIO_WritePin(GPIOB, GPIO_PIN_1|S_OUT2_Pin|S_OUT1_Pin, GPIO_PIN_RESET);

  /*Configure GPIO pin Output Level */
  HAL_GPIO_WritePin(CS_W25_GPIO_Port, CS_W25_Pin, GPIO_PIN_SET);

  /*Configure GPIO pin Output Level */
  HAL_GPIO_WritePin(DE_GPIO_Port, DE_Pin, GPIO_PIN_RESET);

  /*Configure GPIO pins : LED_STT_Pin LED_STT_ETH_Pin LED_BP_Pin */
  GPIO_InitStruct.Pin = LED_STT_Pin|LED_STT_ETH_Pin|LED_BP_Pin;
  GPIO_InitStruct.Mode = GPIO_MODE_OUTPUT_PP;
  GPIO_InitStruct.Pull = GPIO_NOPULL;
  GPIO_InitStruct.Speed = GPIO_SPEED_FREQ_LOW;
  HAL_GPIO_Init(GPIOC, &GPIO_InitStruct);

  /*Configure GPIO pin : BYPASS_Pin */
  GPIO_InitStruct.Pin = BYPASS_Pin;
  GPIO_InitStruct.Mode = GPIO_MODE_INPUT;
  GPIO_InitStruct.Pull = GPIO_PULLUP;
  HAL_GPIO_Init(BYPASS_GPIO_Port, &GPIO_InitStruct);

  /*Configure GPIO pin : CS_Pin */
  GPIO_InitStruct.Pin = CS_Pin;
  GPIO_InitStruct.Mode = GPIO_MODE_OUTPUT_PP;
  GPIO_InitStruct.Pull = GPIO_NOPULL;
  GPIO_InitStruct.Speed = GPIO_SPEED_FREQ_HIGH;
  HAL_GPIO_Init(CS_GPIO_Port, &GPIO_InitStruct);

  /*Configure GPIO pin : PB0 */
  GPIO_InitStruct.Pin = GPIO_PIN_0;
  GPIO_InitStruct.Mode = GPIO_MODE_IT_FALLING;
  GPIO_InitStruct.Pull = GPIO_NOPULL;
  HAL_GPIO_Init(GPIOB, &GPIO_InitStruct);

  /*Configure GPIO pins : PB1 S_OUT2_Pin S_OUT1_Pin */
  GPIO_InitStruct.Pin = GPIO_PIN_1|S_OUT2_Pin|S_OUT1_Pin;
  GPIO_InitStruct.Mode = GPIO_MODE_OUTPUT_PP;
  GPIO_InitStruct.Pull = GPIO_NOPULL;
  GPIO_InitStruct.Speed = GPIO_SPEED_FREQ_LOW;
  HAL_GPIO_Init(GPIOB, &GPIO_InitStruct);

  /*Configure GPIO pin : CS_W25_Pin */
  GPIO_InitStruct.Pin = CS_W25_Pin;
  GPIO_InitStruct.Mode = GPIO_MODE_OUTPUT_PP;
  GPIO_InitStruct.Pull = GPIO_NOPULL;
  GPIO_InitStruct.Speed = GPIO_SPEED_FREQ_HIGH;
  HAL_GPIO_Init(CS_W25_GPIO_Port, &GPIO_InitStruct);

  /*Configure GPIO pin : DE_Pin */
  GPIO_InitStruct.Pin = DE_Pin;
  GPIO_InitStruct.Mode = GPIO_MODE_OUTPUT_PP;
  GPIO_InitStruct.Pull = GPIO_NOPULL;
  GPIO_InitStruct.Speed = GPIO_SPEED_FREQ_LOW;
  HAL_GPIO_Init(DE_GPIO_Port, &GPIO_InitStruct);

  /*Configure GPIO pin : RST_Pin */
  GPIO_InitStruct.Pin = RST_Pin;
  GPIO_InitStruct.Mode = GPIO_MODE_IT_FALLING;
  GPIO_InitStruct.Pull = GPIO_PULLUP;
  HAL_GPIO_Init(RST_GPIO_Port, &GPIO_InitStruct);

  /* EXTI interrupt init*/
  HAL_NVIC_SetPriority(EXTI0_IRQn, 1, 0);
  HAL_NVIC_EnableIRQ(EXTI0_IRQn);

  HAL_NVIC_SetPriority(EXTI9_5_IRQn, 7, 0);
  HAL_NVIC_EnableIRQ(EXTI9_5_IRQn);

}

/* USER CODE BEGIN 4 */
void sendData_eth (char *CMD, uint32_t data)
{
	uint8_t cmd[7];
	cmd[0] = CMD[0];
	cmd[1] = data>>24&0xFF;
	cmd[2] = data>>16&0xFF;
	cmd[3] = data>>8&0xFF;
	cmd[4] = data&0xFF;
	cmd[5] = 0x0D;
	cmd[6] = 0x0A;
	send(SOCK_NUM,(uint8_t *) cmd, 7);
//	sendto(0, cmd, 5, server_ip,port_server);// send UDP
}
void send_u8_eth (char *CMD, uint8_t data)
{
//	char buf[10] = {0};
	uint8_t cmd[4];
	cmd[0] = CMD[0];
	cmd[1] = data;
	cmd[2] = 0x0D;
	cmd[3] = 0x0A;
	send(SOCK_NUM,(uint8_t *) cmd, 4);
//	sendto(0, cmd, 5, server_ip,port_server);// send UDP
}
void sendString (char *CMD, char *data)
{
//	char buf[10] = {0};
	char cmd[strlen(data) + 3];
	strcpy(cmd,CMD);
	strcat(cmd, data);
	strcat(cmd, "\r\n");
//	cmd[1] = (data&0xFF000000)>>24;
//	cmd[2] = (data&0x00FF0000)>>16;
//	cmd[3] = (data&0x0000FF00)>>8;
//	cmd[4] = (data&0x000000FF)>>0;
	send(SOCK_NUM,(uint8_t *) cmd, strlen(cmd));
//	sendto(0, cmd, 5, server_ip,port_server);// send UDP
}
void sendData_eth_info (char *CMD, uint8_t *data)
{
	char cx[29];
//	strcpy(cx,CMD);
//	strcat(cx, data);
	cx[0] = CMD[0];
	for (uint8_t i=0; i<26; i++)
	{
		cx[i+1] = data[i];
	}
	cx[27] = 0x0D;
	cx[28] = 0x0A;
	send(SOCK_NUM,(uint8_t *) cx, 29);
}
void sendData_eth_CardID (char *CMD, user_info_t user)
{
	uint8_t size = sizeof(user_info_t);
	uint8_t cx[size];
	cx[0] = CMD[0];
	cx[1] = 2;
	cx[2] = user.cardID>>24&0xFF;
	cx[3] = user.cardID>>16&0xFF;
	cx[4] = user.cardID>>8&0xFF;
	cx[5] = user.cardID&0xFF;
	cx[6] = user.permis[0];
	cx[7] = user.permis[1];
	cx[8] = user.permis[2];
	cx[9] = user.permis[3];
	cx[10] = user.permis[4];
	cx[11] = user.permis[5];
	cx[12] = user.permis[6];
	cx[13] = user.permis[7];
	cx[14] = user.beginDate;
	cx[15] = user.beginMonth;
	cx[16] = user.beginYear>>8&0xFF;
	cx[17] = user.beginYear&0xFF;
	cx[18] = user.beginHour;
	cx[19] = user.beginMinute;
	cx[20] = user.endDate;
	cx[21] = user.endMonth;
	cx[22] = user.endYear>>8&0xFF;
	cx[23] = user.endYear&0xFF;
	cx[24] = user.endHour;
	cx[25] = user.endMinute;
	cx[26] = 0x0D;
	cx[27] = 0x0A;
	send(SOCK_NUM,(uint8_t *) cx, 28);
}

void sendData_uart (char *CMD, uint8_t data)
{
	char cmd[4];
	cmd[0] = CMD[0];
	cmd[1] = data;
	cmd[2] = 0x0D;
	cmd[3] = 0x0A;
//	strcpy(cmd,CMD);
//	strcat(cmd,data);
	// Pull DE high to enable TX operation
	HAL_GPIO_WritePin(DE_GPIO_Port, DE_Pin, GPIO_PIN_SET);
	HAL_UART_Transmit(&huart1,(uint8_t *) cmd, 4, 500);
	// Pull RE Low to enable RX operation
	HAL_GPIO_WritePin(DE_GPIO_Port, DE_Pin, GPIO_PIN_RESET);
}
void save_data()
{
	HAL_FLASH_Unlock();
	HAL_FLASHEx_Erase(&flashRCB, &SectorError);
	HAL_FLASH_Program(FLASH_TYPEPROGRAM_WORD, 0x0800FC00, ip1);
	HAL_FLASH_Program(FLASH_TYPEPROGRAM_WORD, 0x0800FC04, ip2);
	HAL_FLASH_Program(FLASH_TYPEPROGRAM_WORD, 0x0800FC08, ip3);
	HAL_FLASH_Program(FLASH_TYPEPROGRAM_WORD, 0x0800FC0C, ip4);
	HAL_FLASH_Program(FLASH_TYPEPROGRAM_WORD, 0x0800FC10, port_client);
	HAL_FLASH_Program(FLASH_TYPEPROGRAM_WORD, 0x0800FC14, ip_server1);
	HAL_FLASH_Program(FLASH_TYPEPROGRAM_WORD, 0x0800FC18, ip_server2);
	HAL_FLASH_Program(FLASH_TYPEPROGRAM_WORD, 0x0800FC1C, ip_server3);
	HAL_FLASH_Program(FLASH_TYPEPROGRAM_WORD, 0x0800FC20, ip_server4);
	HAL_FLASH_Program(FLASH_TYPEPROGRAM_WORD, 0x0800FC24, port_server);
	HAL_FLASH_Program(FLASH_TYPEPROGRAM_WORD, 0x0800FC28, time_delay);
	HAL_FLASH_Program(FLASH_TYPEPROGRAM_WORD, 0x0800FC2C, elevator_mode);
	HAL_FLASH_Program(FLASH_TYPEPROGRAM_WORD, 0x0800FC30, lock_default_1);
	HAL_FLASH_Program(FLASH_TYPEPROGRAM_WORD, 0x0800FC34, lock_default_2);
	HAL_FLASH_Lock();
}
void save_time()
{
	HAL_FLASH_Unlock();
	HAL_FLASHEx_Erase(&flashTime, &SectorError);
	HAL_FLASH_Program(FLASH_TYPEPROGRAM_WORD, 0x0800F800, dateNow);
	HAL_FLASH_Program(FLASH_TYPEPROGRAM_WORD, 0x0800F804, monthNow);
	HAL_FLASH_Program(FLASH_TYPEPROGRAM_WORD, 0x0800F808, yearNow);
	HAL_FLASH_Program(FLASH_TYPEPROGRAM_WORD, 0x0800F80C, hourNow);
	HAL_FLASH_Program(FLASH_TYPEPROGRAM_WORD, 0x0800F810, minuteNow);
	HAL_FLASH_Lock();
}

user_info_t binary_search(uint32_t Number_card, uint32_t code)
{
	uint32_t low = 1, high = Number_card;
	user_info_t user_compare;

    while (low <= high)
    {
    	uint32_t mid = (low + high) / 2;
		W25Q_FastRead((mid-1)/16, ((mid-1)%16)*sizeof(user_info_t), sizeof(user_info_t), (uint8_t *)&user_compare);
        if (user_compare.cardID == code)
        {
            return user_compare;
        } else if (user_compare.cardID < code) {
            low = mid + 1;
        } else {
            high = mid - 1;
        }
    }
    user_compare.STT = 0;
    return user_compare;
}
void new_card_update(uint8_t *data, bool *input, uint32_t *input_timer)
{
	for (uint8_t i=0; i<8; i++)
	{
		for (uint8_t j=0; j<8; j++)
		{
			if((data[i]>>j)&0x01)//2 + i
			{
				input[i*8+j] = true;
				input_timer[i*8+j] = HAL_GetTick();
			}
		}
	}
}
void shift_left_1bit( uint8_t input[8], uint8_t output[8])
{
    uint8_t carry = 0;  // Khởi tạo carry ban đầu
    for (int i = 0; i < 8; i++)
    {
        // Lấy bit MSB của byte hiện tại trước khi dịch
        uint8_t new_carry = (input[i] >> 7) & 0x01;
        // Dịch trái 1 bit và kết hợp với carry từ byte trước
        output[i] = (input[i] << 1) | carry;
        // Cập nhật carry cho byte tiếp theo
        carry = new_carry;
    }
}
void calculate_data_can(bool *input, uint32_t *input_timer, uint8_t *data_can, uint8_t *lock_df, uint8_t delay_time, uint8_t *counter_start)
{
	uint8_t data[8] = {0};
	if (*counter_start < delay_time)
	{
		for (uint8_t i=0; i<8; i++)
		{
			for (uint8_t j=0; j<8; j++)
			{
				if (input_timer[i*8+j] == 0)
				{
					if ((lock_df[i]>>j)&0x01)
					{
						input[i*8+j] = true;
					} else
					{
						input[i*8+j] = false;
					}
				} else
				{
					*counter_start = delay_time;
					break;
				}
			}
			if (*counter_start == delay_time) break;
		}
	}
	if (*counter_start >= delay_time)
	{
		for (uint8_t i=0; i<8; i++)
		{
			for (uint8_t j=0; j<8; j++)
			{
				if (((lock_df[i]>>j)&0x01) && (abs(HAL_GetTick() - input_timer[i*8+j]) > delay_time*1000))
				{
					input[i*8+j] = true;
				} else
				{
					input[i*8+j] = false;
				}
			}
		}
	}
	for (uint8_t i=0; i<8; i++)
	{
		for (uint8_t j=0; j<8; j++)
		{
			data[i] |= input[i*8+j]<<j;
		}
	}
	shift_left_1bit(data, data_can);
}
uint8_t reconect_eth(uint8_t sn)
{
//	bool linkport = false;
	uint8_t Status_SN;
	Status_SN = getSn_SR(sn);
	time_check = HAL_GetTick();
	if (Status_SN == SOCK_CLOSE_WAIT || wizphy_getphylink() == PHY_LINK_OFF)
	{
		HAL_GPIO_WritePin(LED_STT_ETH_GPIO_Port, LED_STT_ETH_Pin, GPIO_PIN_RESET);
		timeBreak = HAL_GetTick();
		close(sn);
		time_check -= 5000;
	}
	if (wizphy_getphylink() == PHY_LINK_ON && Status_SN == SOCK_CLOSED)
	{
		HAL_GPIO_WritePin(LED_STT_ETH_GPIO_Port, LED_STT_ETH_Pin, GPIO_PIN_RESET);
		timeBreak = HAL_GetTick();
		socket(sn, Sn_MR_TCP, port_client, SF_TCP_NODELAY);
		connect(sn, server_ip, port_server);
		counter_reset++;
		time_check -= 4000;
	}
	Status_SN = getSn_SR(sn);
	if (Status_SN == SOCK_ESTABLISHED)
	{
		HAL_GPIO_WritePin(LED_STT_ETH_GPIO_Port, LED_STT_ETH_Pin, GPIO_PIN_SET);
	}
	Status_SN = getSn_SR(sn);
	return Status_SN;
}

void Set_speed_can(uint8_t speed)
{
	if (speed == 0)// 100kps
	{
		hcan.Init.Prescaler = 30;
		hcan.Init.TimeSeg1 = CAN_BS1_8TQ;
		hcan.Init.TimeSeg2 = CAN_BS2_3TQ;
	} else if (speed == 1)// 50kps
	{
		hcan.Init.Prescaler = 40;
		hcan.Init.TimeSeg1 = CAN_BS1_12TQ;
		hcan.Init.TimeSeg2 = CAN_BS2_5TQ;
	} else if (speed == 2)// 25kps
	{
		hcan.Init.Prescaler = 60;
		hcan.Init.TimeSeg1 = CAN_BS1_16TQ;
		hcan.Init.TimeSeg2 = CAN_BS2_7TQ;
	}
	hcan.Init.AutoRetransmission = ENABLE;
	hcan.Init.SyncJumpWidth = CAN_SJW_3TQ;
	HAL_CAN_Init(&hcan);

	CAN_FilterTypeDef canfilterconfig;
	canfilterconfig.FilterActivation = CAN_FILTER_ENABLE;
	canfilterconfig.FilterBank = 0;
	canfilterconfig.FilterFIFOAssignment = CAN_FILTER_FIFO0;
	canfilterconfig.FilterIdHigh = 0x740<<5;
	canfilterconfig.FilterIdLow = 0;
	canfilterconfig.FilterMaskIdHigh = 0xFFF<<5;
	canfilterconfig.FilterMaskIdLow = 6;
	canfilterconfig.FilterMode = CAN_FILTERMODE_IDMASK;
	canfilterconfig.FilterScale = CAN_FILTERSCALE_32BIT;
	canfilterconfig.SlaveStartFilterBank = 13;
	HAL_CAN_ConfigFilter(&hcan, &canfilterconfig);

	HAL_CAN_Start(&hcan);
	HAL_CAN_ActivateNotification(&hcan, CAN_IT_RX_FIFO0_MSG_PENDING);
}

// Hàm kiểm tra năm nhuận
static uint8_t is_leap_year(uint16_t year)
{
    if ((year % 4 == 0 && year % 100 != 0) || (year % 400 == 0))
    {
        return 1;
    }
    return 0;
}

// Hàm tùy chỉnh tương tự mktime
uint32_t mktime(uint16_t year, uint8_t month, uint8_t date, uint8_t hour, uint8_t minute)
{
	uint32_t time = 0;
	uint32_t i;

    // 1. Cộng dồn số giây từ các năm đã qua
    // Giả sử epoch là 1/1/2000
	if (year >= EPOCH_YEAR)
	{
		for (i = EPOCH_YEAR; i < year; i++) {
			time += (uint32_t)(365 + is_leap_year(i)) * 24 * 60;
		}
	} else
	{
		return 0;
	}
    // 2. Cộng dồn số giây từ các tháng đã qua trong năm hiện tại
	if (month >= 1 && month <= 12)
	{
		for (i = 0; i < month - 1; i++) {
			time += (uint32_t)days_in_month[i] * 24 * 60;
			// Cộng thêm một ngày nếu là tháng 2 của năm nhuận
		}
		 if (month > 2 && is_leap_year(year))
		 {
			 time += 24 * 60;
		 }
	} else
	{
		return 0;
	}

    // 3. Cộng dồn số giây từ các ngày, giờ, phút và giây
    time += (uint32_t)(date - 1) * 24 * 60;
    time += (uint32_t)hour * 60;
    time += (uint32_t)minute;
    return time;
}
/* USER CODE END 4 */

void Error_Handler(void)
{
  __disable_irq();
  while (1)
  {
  }
}
